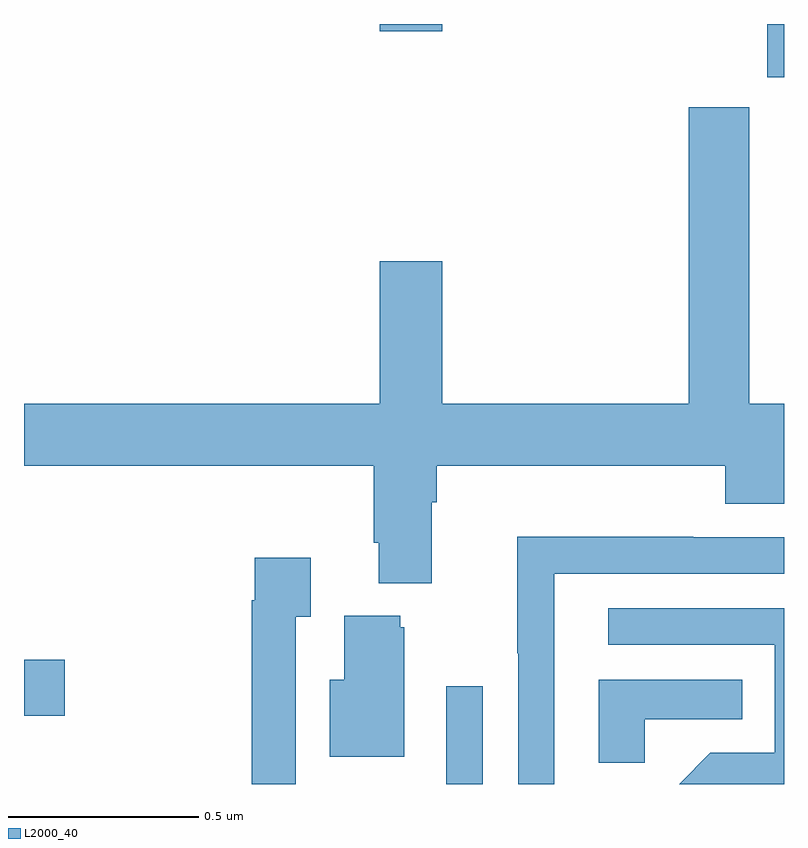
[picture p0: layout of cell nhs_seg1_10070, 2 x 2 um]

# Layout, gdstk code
import gdstk
lib = gdstk.Library(unit=1e-6, precision=1e-09)
def R(c, l, rs):  # rectangles x0, y0, x1, y1
    for r in rs: c.add(gdstk.rectangle(r[:2], r[2:], *l))
def P(c, l, *ps):  # polygons
    for p in ps: c.add(gdstk.Polygon(p, *l))
L2000_40 = (2000, 40)

nhs_seg1_10070 = lib.new_cell('nhs_seg1_10070')
R(nhs_seg1_10070, L2000_40, [(237.111,580.199,237.207,580.456), (236,580.379,236.107,580.526), (237.956,582.059,238,582.199), (236.936,582.18,237.1,582.199)])
P(nhs_seg1_10070, L2000_40, [(237.845,580.937),(238,580.937),(238,581.2),(237.909,581.2),(237.909,581.98),(237.749,581.98),(237.749,581.2),(237.1,581.2),(237.1,581.575),(236.936,581.575),(236.936,581.2),(236,581.2),(236,581.036),(236.921,581.036),(236.921,580.834),(236.933,580.834),(236.933,580.727),(237.073,580.727),(237.073,580.94),(237.086,580.94),(237.086,581.036),(237.845,581.036)],
  [(237.396,580.752),(238,580.752),(238,580.848),(237.761,580.848),(237.761,580.85),(237.298,580.85),(237.298,580.543),(237.3,580.543),(237.3,580.199),(237.396,580.199)],
  [(236.715,580.639),(236.755,580.639),(236.755,580.795),(236.607,580.795),(236.607,580.682),(236.599,580.682),(236.599,580.199),(236.715,580.199)],
  [(238,580.662),(237.537,580.662),(237.537,580.566),(237.975,580.566),(237.975,580.281),(237.806,580.281),(237.724,580.199),(238,580.199)],
  [(237.001,580.611),(236.99,580.611),(236.99,580.642),(236.843,580.642),(236.843,580.474),(236.804,580.474),(236.804,580.271),(237.001,580.271)],
  [(237.633,580.37),(237.89,580.37),(237.89,580.474),(237.512,580.474),(237.512,580.255),(237.633,580.255)])

lib.write_gds('nhs_seg1_10070.gds')
